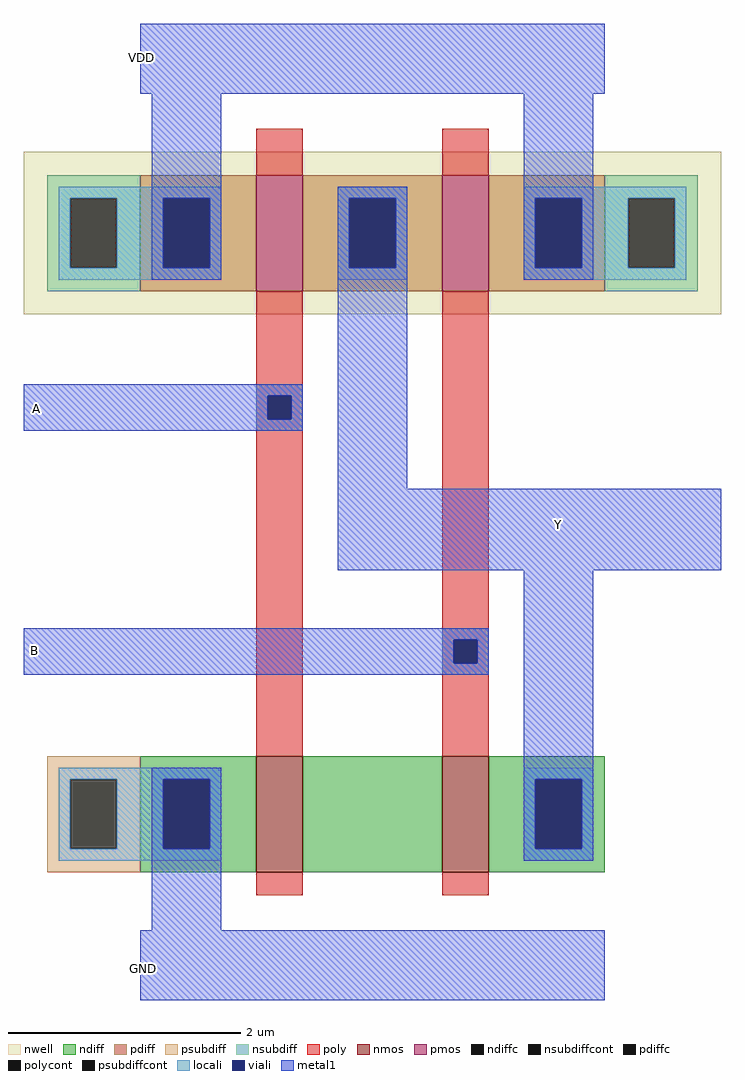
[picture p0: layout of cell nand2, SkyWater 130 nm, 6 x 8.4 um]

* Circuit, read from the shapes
.subckt nand2 B A Y
XM1 n1 A GND GND sky130_fd_pr__nfet_01v8 w=1 l=0.4
XM2 Y B n1 GND sky130_fd_pr__nfet_01v8 w=1 l=0.4
XM3 Y A VDD VDD sky130_fd_pr__pfet_01v8 w=1 l=0.4
XM4 VDD B Y VDD sky130_fd_pr__pfet_01v8 w=1 l=0.4
.ends

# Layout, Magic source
magic
tech sky130A
<< nwell >>
rect -100 480 500 620
<< nmos >>
rect 100 0 140 100
rect 260 0 300 100
<< pmos >>
rect 100 500 140 600
rect 260 500 300 600
<< ndiff >>
rect 0 80 100 100
rect 0 20 20 80
rect 60 20 100 80
rect 0 0 100 20
rect 140 0 260 100
rect 300 80 400 100
rect 300 20 340 80
rect 380 20 400 80
rect 300 0 400 20
<< pdiff >>
rect 0 580 100 600
rect 0 520 20 580
rect 60 520 100 580
rect 0 500 100 520
rect 140 580 260 600
rect 140 520 180 580
rect 220 520 260 580
rect 140 500 260 520
rect 300 580 400 600
rect 300 520 340 580
rect 380 520 400 580
rect 300 500 400 520
<< ndiffc >>
rect 20 20 60 80
rect 340 20 380 80
<< pdiffc >>
rect 20 520 60 580
rect 180 520 220 580
rect 340 520 380 580
<< psubdiff >>
rect -80 80 0 100
rect -80 20 -60 80
rect -20 20 0 80
rect -80 0 0 20
<< nsubdiff >>
rect -80 580 0 600
rect -80 520 -60 580
rect -20 520 0 580
rect -80 500 0 520
rect 400 580 480 600
rect 400 520 420 580
rect 460 520 480 580
rect 400 500 480 520
<< psubdiffcont >>
rect -60 20 -20 80
<< nsubdiffcont >>
rect -60 520 -20 580
rect 420 520 460 580
<< poly >>
rect 100 600 140 640
rect 260 600 300 640
rect 100 410 140 500
rect 100 390 110 410
rect 130 390 140 410
rect 100 100 140 390
rect 260 200 300 500
rect 260 180 270 200
rect 290 180 300 200
rect 260 100 300 180
rect 100 -20 140 0
rect 260 -20 300 0
<< polycont >>
rect 110 390 130 410
rect 270 180 290 200
<< locali >>
rect -70 580 70 590
rect -70 520 -60 580
rect -20 520 20 580
rect 60 520 70 580
rect -70 510 70 520
rect 170 580 230 590
rect 170 520 180 580
rect 220 520 230 580
rect 170 510 230 520
rect 330 580 470 590
rect 330 520 340 580
rect 380 520 420 580
rect 460 520 470 580
rect 330 510 470 520
rect 100 410 140 420
rect 100 390 110 410
rect 130 390 140 410
rect 100 380 140 390
rect 260 200 300 210
rect 260 180 270 200
rect 290 180 300 200
rect 260 170 300 180
rect -70 80 70 90
rect -70 20 -60 80
rect -20 20 20 80
rect 60 20 70 80
rect -70 10 70 20
rect 330 80 390 90
rect 330 20 340 80
rect 380 20 390 80
rect 330 10 390 20
<< viali >>
rect 20 520 60 580
rect 180 520 220 580
rect 340 520 380 580
rect 110 390 130 410
rect 270 180 290 200
rect 20 20 60 80
rect 340 20 380 80
<< metal1 >>
rect 0 670 400 730
rect 10 580 70 670
rect 10 520 20 580
rect 60 520 70 580
rect 10 510 70 520
rect 170 580 230 590
rect 170 520 180 580
rect 220 520 230 580
rect -100 410 140 420
rect -100 390 110 410
rect 130 390 140 410
rect -100 380 140 390
rect 170 330 230 520
rect 330 580 390 670
rect 330 520 340 580
rect 380 520 390 580
rect 330 510 390 520
rect 170 260 500 330
rect -100 200 300 210
rect -100 180 270 200
rect 290 180 300 200
rect -100 170 300 180
rect 10 80 70 90
rect 10 20 20 80
rect 60 20 70 80
rect 10 -50 70 20
rect 330 80 390 260
rect 330 20 340 80
rect 380 20 390 80
rect 330 10 390 20
rect 0 -110 400 -50
<< labels >>
rlabel metal1 1 700 1 703 1 VDD
rlabel metal1 3 -84 3 -81 1 GND
rlabel metal1 -90 399 -89 400 1 A
port 2 n
rlabel metal1 -91 190 -90 191 1 B
port 1 n
rlabel metal1 360 299 361 300 1 Y
port 3 n
<< end >>
